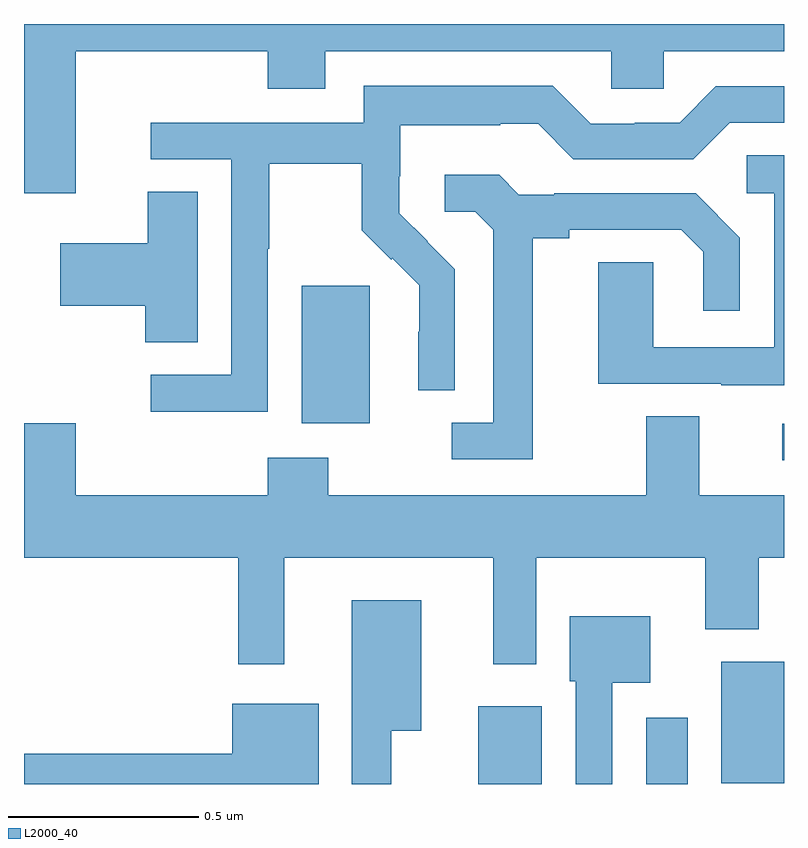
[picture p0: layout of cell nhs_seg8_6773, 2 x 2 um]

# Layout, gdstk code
import gdstk
lib = gdstk.Library(unit=1e-6, precision=1e-09)
def R(c, l, rs):  # rectangles x0, y0, x1, y1
    for r in rs: c.add(gdstk.rectangle(r[:2], r[2:], *l))
def P(c, l, *ps):  # polygons
    for p in ps: c.add(gdstk.Polygon(p, *l))
L2000_40 = (2000, 40)

nhs_seg8_6773 = lib.new_cell('nhs_seg8_6773')
R(nhs_seg8_6773, L2000_40, [(202.196,1119.9,202.363,1120.105), (202.637,1119.9,202.747,1120.075), (202.835,1119.902,203,1120.222), (202.995,1120.752,203,1120.848), (201.731,1120.85,201.91,1121.211)])
P(nhs_seg8_6773, L2000_40, [(201,1121.454),(201.136,1121.454),(201.136,1121.828),(201.641,1121.828),(201.641,1121.729),(201.793,1121.729),(201.793,1121.828),(202.545,1121.828),(202.545,1121.73),(202.683,1121.73),(202.683,1121.828),(203,1121.828),(203,1121.9),(201,1121.9)],
  [(201.642,1121.308),(201.645,1121.308),(201.645,1121.532),(201.889,1121.532),(201.889,1121.357),(201.966,1121.28),(201.969,1121.283),(202.04,1121.213),(202.04,1121.09),(202.038,1121.09),(202.038,1120.936),(202.134,1120.936),(202.134,1121.254),(202.061,1121.327),(202.062,1121.328),(201.988,1121.402),(201.988,1121.499),(201.99,1121.499),(201.99,1121.633),(202.253,1121.633),(202.253,1121.637),(202.353,1121.637),(202.446,1121.544),(202.761,1121.544),(202.857,1121.64),(203,1121.64),(203,1121.736),(202.821,1121.736),(202.725,1121.64),(202.607,1121.64),(202.607,1121.637),(202.491,1121.637),(202.391,1121.737),(201.894,1121.737),(201.894,1121.64),(201.333,1121.64),(201.333,1121.544),(201.546,1121.544),(201.546,1120.977),(201.333,1120.977),(201.333,1120.879),(201.642,1120.879)],
  [(203,1121.555),(202.902,1121.555),(202.902,1121.454),(202.974,1121.454),(202.974,1121.049),(202.656,1121.049),(202.656,1121.273),(202.511,1121.273),(202.511,1120.953),(202.835,1120.953),(202.835,1120.949),(203,1120.949)],
  [(202.339,1121.336),(202.435,1121.336),(202.435,1121.358),(202.73,1121.358),(202.787,1121.301),(202.787,1121.145),(202.884,1121.145),(202.884,1121.338),(202.768,1121.454),(202.396,1121.454),(202.396,1121.451),(202.302,1121.451),(202.25,1121.503),(202.107,1121.503),(202.107,1121.406),(202.188,1121.406),(202.235,1121.359),(202.235,1120.851),(202.125,1120.851),(202.125,1120.755),(202.339,1120.755)],
  [(201.457,1121.459),(201.326,1121.459),(201.326,1121.323),(201.096,1121.323),(201.096,1121.158),(201.319,1121.158),(201.319,1121.062),(201.457,1121.062)],
  [(201.685,1120.496),(202.235,1120.496),(202.235,1120.215),(202.348,1120.215),(202.348,1120.496),(202.793,1120.496),(202.793,1120.307),(202.933,1120.307),(202.933,1120.496),(203,1120.496),(203,1120.66),(202.777,1120.66),(202.777,1120.868),(202.637,1120.868),(202.637,1120.66),(201.801,1120.66),(201.801,1120.759),(201.641,1120.759),(201.641,1120.66),(201.136,1120.66),(201.136,1120.849),(201,1120.849),(201,1120.496),(201.564,1120.496),(201.564,1120.215),(201.685,1120.215)],
  [(201.967,1120.04),(202.045,1120.04),(202.045,1120.384),(201.863,1120.384),(201.863,1119.9),(201.967,1119.9)],
  [(202.548,1120.166),(202.648,1120.166),(202.648,1120.342),(202.436,1120.342),(202.436,1120.17),(202.452,1120.17),(202.452,1119.9),(202.548,1119.9)],
  [(201.775,1120.111),(201.548,1120.111),(201.548,1119.98),(201,1119.98),(201,1119.9),(201.775,1119.9)])

lib.write_gds('nhs_seg8_6773.gds')
